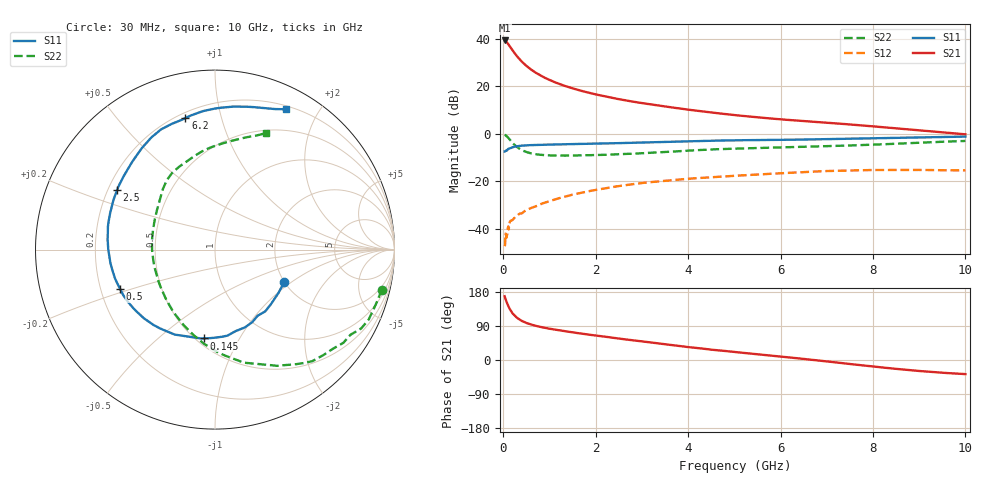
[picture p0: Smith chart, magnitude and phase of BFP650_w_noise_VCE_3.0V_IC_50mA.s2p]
! Infineon Technologies  Discrete & RF Semiconductors
! BFP650
! VCE =  3.0 V,  IC =  50 mA
! Common Emitter S-Parameters:  Jan 2016
# GHz  S  MA  R  50
!  f  S11  S21  S12  S22
! GHz  MAG  ANG  MAG  ANG  MAG  ANG  MAG  ANG
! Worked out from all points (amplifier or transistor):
!   229 points, 30 MHz to 10 GHz, reference 50 ohm
!   highest |S21| = 39.4 dB at 30 MHz (marker M1)
!   |S21| within 3 dB of that: start of sweep to 160.6 MHz
!   unconditionally stable (mu >= 1): 1.828 GHz to end of sweep
!   at 280 MHz: K = 0.46, MSG = 34.0 dB, |S12| = -34.8 dB
!   at 1.78 GHz: K = 1.00, MSG = 21.1 dB, |S12| = -24.4 dB
!   at 10 GHz: K = 1.03, MAG = 6.5 dB, |S12| = -15.4 dB
!   lowest NFmin = 0.97 dB at 450 MHz
!   S11 on the Smith chart (normalised r, x): 30 MHz: 1.99, -0.88; 145 MHz: 0.55, -0.72; 500 MHz: 0.28, -0.19; 2.5 GHz: 0.24, +0.26; 6.2 GHz: 0.23, +0.77; 10 GHz: 0.24, +1.60
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0.03  0.4258 -25.2  93.15 168.2  0.0043 89.1  0.9562 -13.5
0.05  0.4357 -44.6  90.27 160.5  0.0079 43.7  0.9408 -24.5
0.06  0.4436 -50.9  89.36 157.4  0.0076 65.5  0.9255 -28.3
0.08  0.4546 -62.8  84.95 150.8  0.0074 71.9  0.8838 -36.0
0.11  0.4842 -81.7  77.85 142.1  0.0112 75.2  0.8247 -48.9
0.145  0.4986 -97.0  69.4 133.8  0.014 59.9  0.7456 -59.9
0.2  0.5241 -115.4  58.02 123.3  0.0153 56.5  0.6501 -75.7
0.24  0.5359 -125.1  51.28 117.9  0.017 54.7  0.5931 -84.6
0.3  0.5509 -136.1  43.03 111.1  0.0188 51.9  0.5279 -96.7
0.4  0.5652 -148.6  33.49 103.2  0.0211 52.8  0.457 -112.1
0.5  0.5728 -157.3  27.22 97.6  0.0248 51.5  0.4162 -124.2
0.7  0.5833 -168.7  19.57 90.1  0.0296 53.8  0.3731 -142.2
0.9  0.5901 -176.4  15.21 84.9  0.0357 54.3  0.3558 -155.2
1.2  0.6007 174.8  11.4 78.5  0.0439 54.2  0.3492 -169.3
1.7  0.6151 163.5  8.029 69.6  0.058 51.8  0.3532 174.3
2.5  0.6385 148.8  5.403 56.7  0.0794 44.9  0.3719 155.4
3.4  0.6681 134.6  3.905 43.1  0.1007 35.8  0.4092 139.3
5.1  0.7349 113.1  2.438 20.0  0.1324 19.3  0.4917 118.0
6.2  0.751 102.7  1.96 6.7  0.1515 8.8  0.5249 104.9
6.8  0.7678 97.0  1.78 -0.9  0.1617 2.4  0.5448 99.3
8.4  0.8153 77.5  1.334 -22.2  0.1739 -15.0  0.6139 81.1
10  0.8766 63.1  0.98 -37.2  0.17 -27.7  0.7098 66.4
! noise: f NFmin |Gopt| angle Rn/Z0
0.45  0.97  0.2  -177  0.49
0.9  0.99  0.42  -167  0.06
1.9  1.12  0.45  -153  0.06
2.4  1.2  0.43  -143  0.08
3.5  1.43  0.46  -120  0.13
